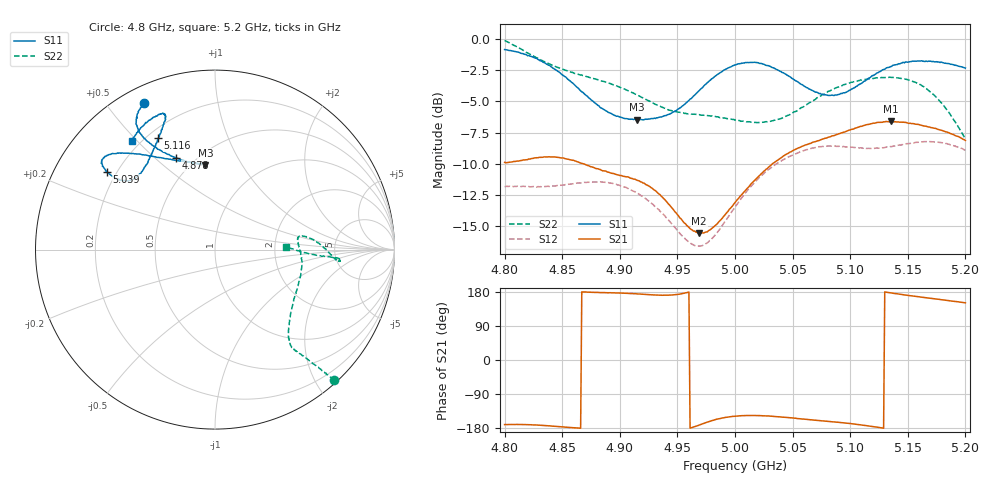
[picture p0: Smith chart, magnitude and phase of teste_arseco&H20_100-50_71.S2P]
! Network Analyzer HP8722D
! Hewlett-Packard
! Data name: Linha & Wilkinson
! Saver's name: Rodrigo Anjos
! Comments: Teste da utilização de aquisição
! continua pelo VNA HP8722D
! Time and date: 6/5/2025 13:09
!  Frequency  S11  S21  S12  S22
# HZ  S  MA R 50
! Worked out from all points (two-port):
!   401 points, 4.8 GHz to 5.2 GHz, reference 50 ohm
!   highest |S21| = -6.61 dB at 5.135 GHz (marker M1); lowest = -15.6 dB at 4.969 GHz (marker M2)
!   |S21| within 3 dB of the highest: 4.823 GHz to 4.853 GHz (30.89 MHz wide, 0.639 % of centre); 5.039 GHz to end of sweep
!   lowest |S11| = -6.5 dB at 4.915 GHz (marker M3), VSWR 2.80, Z = 29.1 + j35.4 ohm
!   |S11| at or under -10 dB: nowhere
!   |S22| runs from -8.0 to -0.1 dB; largest |S21 - S12| = 0.83
!   S11 on the Smith chart (normalised r, x): 4.8 GHz: 0.07, +0.62; 4.878 GHz: 0.40, +0.59; 5.039 GHz: 0.16, +0.32; 5.116 GHz: 0.24, +0.59; 5.2 GHz: 0.17, +0.49
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4.8e9  0.9052 115.8  0.3203 -170.5  0.2563 -86.0  0.9842 -47.5
4.831e9  0.8154 122.2  0.3356 -172.2  0.2562 -77.9  0.8253 -49.4
4.846e9  0.7428 122.5  0.3356 -175.5  0.2591 -72.8  0.7681 -50.4
4.867e9  0.6135 117.9  0.3175 179.8  0.2655 -67.4  0.7153 -51.5
4.878e9  0.5551 113.1  0.3047 178.3  0.2671 -66.0  0.6918 -51.8
4.901e9  0.4854 100.8  0.284 176.6  0.258 -66.7  0.6366 -50.0
4.915e9  0.4742 96.5  0.2716 174.4  0.2416 -68.2  0.5957 -46.4
4.934e9  0.4851 99.2  0.2394 171.1  0.2071 -69.4  0.5381 -37.3
4.949e9  0.5159 108.7  0.201 172.7  0.1735 -66.1  0.51 -27.7
4.969e9  0.6207 123.4  0.1668 -171.5  0.1481 -47.8  0.4972 -15.0
4.981e9  0.6964 130.0  0.1761 -159.2  0.1606 -33.9  0.4891 -8.8
5e9  0.7853 137.3  0.2209 -148.4  0.2124 -21.3  0.4727 -0.3
5.019e9  0.8021 141.8  0.2775 -146.8  0.272 -18.3  0.4621 5.9
5.039e9  0.7412 144.2  0.3316 -150.0  0.3221 -18.3  0.4781 8.9
5.067e9  0.6214 141.9  0.3847 -158.0  0.3655 -20.5  0.5623 4.6
5.088e9  0.5956 133.0  0.4135 -164.0  0.371 -23.7  0.6368 -1.8
5.116e9  0.6957 117.0  0.4544 -174.1  0.3643 -26.8  0.6909 -5.3
5.134e9  0.7693 111.2  0.4645 177.7  0.3692 -28.8  0.7018 -4.9
5.135e9  0.7732 111.1  0.4674 177.3  0.3706 -28.7  0.7007 -4.7
5.161e9  0.8144 112.4  0.4518 166.1  0.3867 -35.0  0.6547 -3.7
5.179e9  0.8066 118.7  0.4309 159.2  0.3842 -40.7  0.5548 -3.0
5.2e9  0.7632 127.2  0.3918 150.9  0.3582 -46.3  0.3974 2.4
